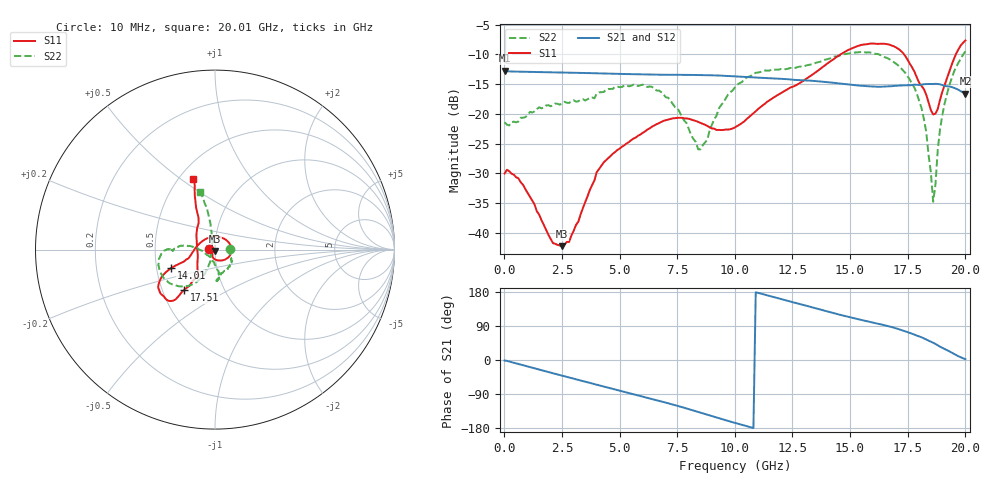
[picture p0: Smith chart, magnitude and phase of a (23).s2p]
! Hittite Microwave Corporation
! 2 Elizabeth Drive
! Chelmsford, MA 01824
! http://www.hittite.com
! Tel: 978-250-3343
! Fax: 978-250-3373
! Device:  HMC424LP3
! Description: 0.5 dB GaAs MMIC 6-Bit Digital Attenuator
! Frequency:  DC -  13.00 GHz
! Package:  LP3  - 3x3 mm Quad Flatpack No-Lead (QFN) Plastic Package: 16 pin
! Ports:  2 RF, 7 DC
!  Pad  1  = Ground
!  Pad  2  = RF IN  = Port 1
!  Pad  3  = Ground
!  Pad  4  = V6
!  Pad  5  = V5
!  Pad  6  = V4
!  Pad  7  = V3
!  Pad  8  = V2
!  Pad  9  = V1
!  Pad 10  = Ground
!  Pad 11  = RF OUT  = Port 2
!  Pad 12  = Ground
!  Pad 15  = VEE
! Control:  -5 Volt control voltage
! State:  21
! Attenuation:  10.5 dB
! Voltages:  Vdd = -5.00 Volts  Idd =  -2.560 mA
!  V1  = -5.00 Volts  I1  =  -1.0 uA
!  V2  = 0.00 Volts  I2  =  29.0 uA
!  V3  = -5.00 Volts  I3  =  -1.0 uA
!  V4  = 0.00 Volts  I4  =  30.0 uA
!  V5  = -5.00 Volts  I5  =  -1.0 uA
!  V6  = 0.00 Volts  I6  =  30.0 uA
! Data:  The device was measured on evaluation board 105354-1.
!  Data was collected using a calibrated network analyzer.
!  The evaluation circuit board was modeled and simulated.  This was use
!  to removed the evaluation board circuit from the measured data.
!  The reference plane is the edge of the package pin.
! Misc:  Lot xxxx, Unit 1
!  Application 20120001, Data collected in Application 20090083
! Date Measured:  2009-09-15
! Date:  2012-05-14  MJV
! Note:
!  Hittite supplies this data as a sample of measured data at the package pin
!  for this product.  Your particular data for this product may vary.
!  Data was taken at 25 degrees C.
!  Hittite reserves the right to change this data at anytime.
# GHz S MA R 50
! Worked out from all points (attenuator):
!   201 points, 10 MHz to 20.01 GHz, reference 50 ohm
!   highest |S21| = -12.76 dB at 10 MHz (marker M1); lowest = -16.6 dB at 20.01 GHz (marker M2)
!   lowest |S11| = -42.2 dB at 2.51 GHz (marker M3), VSWR 1.02, Z = 49.9 - j0.768 ohm
!   |S11| at or under -10 dB: start of sweep to 14.6 GHz; 17.35 GHz to 19.6 GHz (2.251 GHz wide, 12.2 % of centre)
!   |S22| runs from -34.8 to -9.5 dB; largest |S21 - S12| = 0.0024
!   S11 on the Smith chart (normalised r, x): 10 MHz: 0.94, +0.01; 14.01 GHz: 0.60, -0.13; 17.51 GHz: 0.65, -0.31; 20.01 GHz: 0.59, +0.56
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0.01  0.03155 168.9  0.2301 -1.2  0.2278 -1.2  0.08488 2.7
0.61  0.02871 -171.9  0.2261 -10.7  0.226 -10.7  0.08627 -18.2
2.11  0.008204 -107.5  0.2232 -35.0  0.2229 -35.0  0.118 -42.4
2.51  0.007734 -96.0  0.2224 -41.4  0.2221 -41.4  0.1227 -48.9
2.81  0.0084 -106.2  0.2217 -46.1  0.2216 -46.2  0.1236 -53.1
3.41  0.01619 -124.6  0.2206 -55.8  0.2203 -55.8  0.1327 -63.6
4.31  0.03909 -111.4  0.2183 -69.9  0.2182 -70.0  0.1525 -81.0
6.71  0.08347 -34.7  0.2132 -107.6  0.2129 -107.6  0.157 -82.6
7.51  0.0926 -5.7  0.2127 -120.9  0.2124 -120.9  0.1115 -84.0
8.51  0.08389 34.5  0.2118 -138.7  0.2115 -138.7  0.05031 -138.2
10.01  0.0769 126.4  0.2064 -166.0  0.2061 -166.0  0.1671 171.8
13.41  0.2161 -158.4  0.189 138.0  0.1886 138.0  0.262 179.5
14.01  0.264 -157.3  0.1846 128.2  0.1844 128.1  0.2872 -177.7
15.41  0.3752 -147.4  0.1729 106.9  0.1725 106.9  0.33 -159.8
16.71  0.3815 -131.2  0.1702 88.5  0.17 88.5  0.2877 -134.8
17.51  0.2828 -127.6  0.1736 73.3  0.1733 73.3  0.2055 -119.2
18.21  0.1607 -126.2  0.1773 57.1  0.177 57.2  0.08994 -112.1
18.51  0.1077 -153.0  0.1777 48.4  0.1775 48.4  0.03243 -134.4
18.61  0.09884 -167.4  0.1781 45.5  0.1778 45.6  0.01829 -175.2
18.91  0.1315 142.0  0.1771 35.2  0.1769 35.3  0.07432 105.5
19.11  0.1748 121.3  0.1719 28.9  0.1717 29.0  0.1225 101.0
20.01  0.4134 107.3  0.1482 2.3  0.1483 2.3  0.3348 104.8
